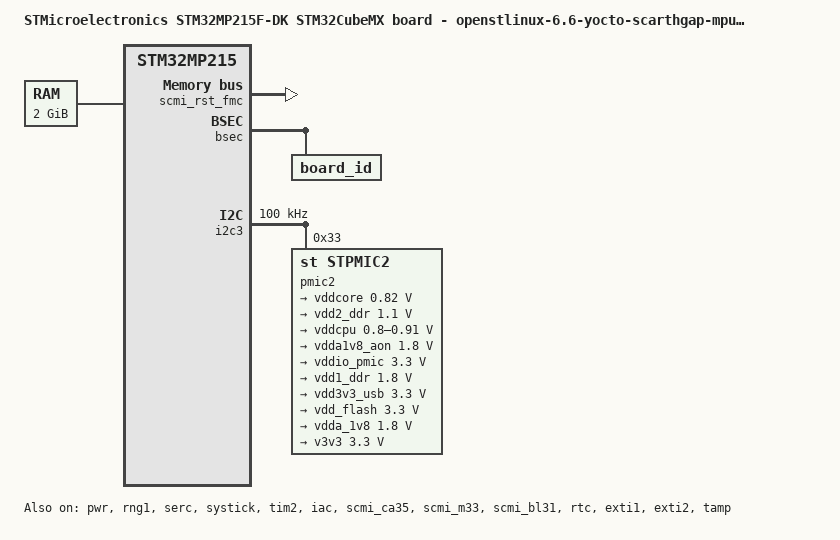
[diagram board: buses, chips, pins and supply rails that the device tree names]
/dts-v1/;
#include "dt-bindings/clock/stm32mp21-clksrc.h"
#include <dt-bindings/pinctrl/stm32-pinfunc.h>
#include "stm32mp215.dtsi"
#include "stm32mp215f-board_215f-dk_m33td-mx-rcc.dtsi"
#include "stm32mp215f-board_215f-dk_m33td-mx-resmem.dtsi"
#include "stm32mp215f-board_215f-dk_m33td-mx-rif.dtsi"

/* USER CODE BEGIN includes */
#include <dt-bindings/clock/stm32mp21-clksrc.h>
#include <dt-bindings/ipcc/stm32mp25-ipcc.h>
#include <dt-bindings/power/stm32mp25-power.h>
#include <dt-bindings/reset/st,stm32mp21-rcc.h>
#include <dt-bindings/regulator/stm32mp21-regulator.h>
/* USER CODE END includes */

/{
	model = "STMicroelectronics STM32MP215F-DK STM32CubeMX board - openstlinux-6.6-yocto-scarthgap-mpu-v25.01.03";
	compatible = "st,stm32mp215f-board_215f-dk_m33td-mx", "st,stm32mp215f-dk", "st,stm32mp215";

	/* USER CODE BEGIN root */

	stm32mp25-scmi-rst{

		scmi_rst_fmc:scmi_rst_fmc{
			compatible = "st,stm32mp25-scmi-rst";
			resets = <&rcc_reset FMC_R>;
			reset-names = "fmc";
			scmi-id = <RST_SCMI_FMC>;
		};
	};

	stm32mp25-scmi-clk{

		scmi_clk_icn_sdmmc:ck_icn_sdmmc{
			compatible = "st,stm32mp25-scmi-clk";
			clocks = <&rcc CK_ICN_SDMMC>;
			scmi-id = <CK_SCMI_ICN_SDMMC>;
		};

		scmi_clk_icn_ddr:ck_icn_ddr{
			compatible = "st,stm32mp25-scmi-clk";
			clocks = <&rcc CK_ICN_DDR>;
			scmi-id = <CK_SCMI_ICN_DDR>;
		};

		scmi_clk_icn_display:ck_icn_display{
			compatible = "st,stm32mp25-scmi-clk";
			clocks = <&rcc CK_ICN_DISPLAY>;
			scmi-id = <CK_SCMI_ICN_DISPLAY>;
		};

		scmi_clk_icn_hsl:ck_icn_hsl{
			compatible = "st,stm32mp25-scmi-clk";
			clocks = <&rcc CK_ICN_HSL>;
			scmi-id = <CK_SCMI_ICN_HSL>;
		};

		scmi_clk_icn_nic:ck_icn_nic{
			compatible = "st,stm32mp25-scmi-clk";
			clocks = <&rcc CK_ICN_NIC>;
			scmi-id = <CK_SCMI_ICN_NIC>;
		};

		scmi_clk_flexgen_07:ck_flexgen_07{
			compatible = "st,stm32mp25-scmi-clk";
			clocks = <&rcc CK_FLEXGEN_07>;
			scmi-id = <CK_SCMI_FLEXGEN_07>;
		};

		scmi_clk_flexgen_08:ck_flexgen_08{
			compatible = "st,stm32mp25-scmi-clk";
			clocks = <&rcc CK_FLEXGEN_08>;
			scmi-id = <CK_SCMI_FLEXGEN_08>;
		};

		scmi_clk_flexgen_09:ck_flexgen_09{
			compatible = "st,stm32mp25-scmi-clk";
			clocks = <&rcc CK_FLEXGEN_09>;
			scmi-id = <CK_SCMI_FLEXGEN_09>;
		};

		scmi_clk_flexgen_10:ck_flexgen_10{
			compatible = "st,stm32mp25-scmi-clk";
			clocks = <&rcc CK_FLEXGEN_10>;
			scmi-id = <CK_SCMI_FLEXGEN_10>;
			rate;
		};

		scmi_clk_flexgen_11:ck_flexgen_11{
			compatible = "st,stm32mp25-scmi-clk";
			clocks = <&rcc CK_FLEXGEN_11>;
			scmi-id = <CK_SCMI_FLEXGEN_11>;
		};

		scmi_clk_flexgen_12:ck_flexgen_12{
			compatible = "st,stm32mp25-scmi-clk";
			clocks = <&rcc CK_FLEXGEN_12>;
			scmi-id = <CK_SCMI_FLEXGEN_12>;
		};

		scmi_clk_flexgen_13:ck_flexgen_13{
			compatible = "st,stm32mp25-scmi-clk";
			clocks = <&rcc CK_FLEXGEN_13>;
			scmi-id = <CK_SCMI_FLEXGEN_13>;
		};

		scmi_clk_flexgen_14:ck_flexgen_14{
			compatible = "st,stm32mp25-scmi-clk";
			clocks = <&rcc CK_FLEXGEN_14>;
			scmi-id = <CK_SCMI_FLEXGEN_14>;
		};

		scmi_clk_flexgen_15:ck_flexgen_15{
			compatible = "st,stm32mp25-scmi-clk";
			clocks = <&rcc CK_FLEXGEN_15>;
			scmi-id = <CK_SCMI_FLEXGEN_15>;
		};

		scmi_clk_flexgen_16:ck_flexgen_16{
			compatible = "st,stm32mp25-scmi-clk";
			clocks = <&rcc CK_FLEXGEN_16>;
			scmi-id = <CK_SCMI_FLEXGEN_16>;
			rate;
		};

		scmi_clk_flexgen_17:ck_flexgen_17{
			compatible = "st,stm32mp25-scmi-clk";
			clocks = <&rcc CK_FLEXGEN_17>;
			scmi-id = <CK_SCMI_FLEXGEN_17>;
		};

		scmi_clk_flexgen_18:ck_flexgen_18{
			compatible = "st,stm32mp25-scmi-clk";
			clocks = <&rcc CK_FLEXGEN_18>;
			scmi-id = <CK_SCMI_FLEXGEN_18>;
		};

		scmi_clk_flexgen_19:ck_flexgen_19{
			compatible = "st,stm32mp25-scmi-clk";
			clocks = <&rcc CK_FLEXGEN_19>;
			scmi-id = <CK_SCMI_FLEXGEN_19>;
		};

		scmi_clk_flexgen_20:ck_flexgen_20{
			compatible = "st,stm32mp25-scmi-clk";
			clocks = <&rcc CK_FLEXGEN_20>;
			scmi-id = <CK_SCMI_FLEXGEN_20>;
		};

		scmi_clk_flexgen_21:ck_flexgen_21{
			compatible = "st,stm32mp25-scmi-clk";
			clocks = <&rcc CK_FLEXGEN_21>;
			scmi-id = <CK_SCMI_FLEXGEN_21>;
		};

		scmi_clk_flexgen_22:ck_flexgen_22{
			compatible = "st,stm32mp25-scmi-clk";
			clocks = <&rcc CK_FLEXGEN_22>;
			scmi-id = <CK_SCMI_FLEXGEN_22>;
		};

		scmi_clk_flexgen_23:ck_flexgen_23{
			compatible = "st,stm32mp25-scmi-clk";
			clocks = <&rcc CK_FLEXGEN_23>;
			scmi-id = <CK_SCMI_FLEXGEN_23>;
			rate;
		};

		scmi_clk_flexgen_24:ck_flexgen_24{
			compatible = "st,stm32mp25-scmi-clk";
			clocks = <&rcc CK_FLEXGEN_24>;
			scmi-id = <CK_SCMI_FLEXGEN_24>;
			rate;
		};

		scmi_clk_flexgen_25:ck_flexgen_25{
			compatible = "st,stm32mp25-scmi-clk";
			clocks = <&rcc CK_FLEXGEN_25>;
			scmi-id = <CK_SCMI_FLEXGEN_25>;
			rate;
		};

		scmi_clk_flexgen_26:ck_flexgen_26{
			compatible = "st,stm32mp25-scmi-clk";
			clocks = <&rcc CK_FLEXGEN_26>;
			scmi-id = <CK_SCMI_FLEXGEN_26>;
		};

		scmi_clk_flexgen_27:ck_flexgen_27{
			compatible = "st,stm32mp25-scmi-clk";
			clocks = <&rcc CK_FLEXGEN_27>;
			scmi-id = <CK_SCMI_FLEXGEN_27>;
			rate;
		};

		scmi_clk_flexgen_28:ck_flexgen_28{
			compatible = "st,stm32mp25-scmi-clk";
			clocks = <&rcc CK_FLEXGEN_28>;
			scmi-id = <CK_SCMI_FLEXGEN_28>;
		};

		scmi_clk_flexgen_29:ck_flexgen_29{
			compatible = "st,stm32mp25-scmi-clk";
			clocks = <&rcc CK_FLEXGEN_29>;
			scmi-id = <CK_SCMI_FLEXGEN_29>;
		};

		scmi_clk_flexgen_30:ck_flexgen_30{
			compatible = "st,stm32mp25-scmi-clk";
			clocks = <&rcc CK_FLEXGEN_30>;
			scmi-id = <CK_SCMI_FLEXGEN_30>;
		};

		scmi_clk_flexgen_31:ck_flexgen_31{
			compatible = "st,stm32mp25-scmi-clk";
			clocks = <&rcc CK_FLEXGEN_31>;
			scmi-id = <CK_SCMI_FLEXGEN_31>;
		};

		scmi_clk_flexgen_32:ck_flexgen_32{
			compatible = "st,stm32mp25-scmi-clk";
			clocks = <&rcc CK_FLEXGEN_32>;
			scmi-id = <CK_SCMI_FLEXGEN_32>;
		};

		scmi_clk_flexgen_33:ck_flexgen_33{
			compatible = "st,stm32mp25-scmi-clk";
			clocks = <&rcc CK_FLEXGEN_33>;
			scmi-id = <CK_SCMI_FLEXGEN_33>;
		};

		scmi_clk_flexgen_34:ck_flexgen_34{
			compatible = "st,stm32mp25-scmi-clk";
			clocks = <&rcc CK_FLEXGEN_34>;
			scmi-id = <CK_SCMI_FLEXGEN_34>;
		};

		scmi_clk_flexgen_35:ck_flexgen_35{
			compatible = "st,stm32mp25-scmi-clk";
			clocks = <&rcc CK_FLEXGEN_35>;
			scmi-id = <CK_SCMI_FLEXGEN_35>;
		};

		scmi_clk_flexgen_36:ck_flexgen_36{
			compatible = "st,stm32mp25-scmi-clk";
			clocks = <&rcc CK_FLEXGEN_36>;
			scmi-id = <CK_SCMI_FLEXGEN_36>;
		};

		scmi_clk_flexgen_37:ck_flexgen_37{
			compatible = "st,stm32mp25-scmi-clk";
			clocks = <&rcc CK_FLEXGEN_37>;
			scmi-id = <CK_SCMI_FLEXGEN_37>;
		};

		scmi_clk_flexgen_38:ck_flexgen_38{
			compatible = "st,stm32mp25-scmi-clk";
			clocks = <&rcc CK_FLEXGEN_38>;
			scmi-id = <CK_SCMI_FLEXGEN_38>;
		};

		scmi_clk_flexgen_39:ck_flexgen_39{
			compatible = "st,stm32mp25-scmi-clk";
			clocks = <&rcc CK_FLEXGEN_39>;
			scmi-id = <CK_SCMI_FLEXGEN_39>;
		};

		scmi_clk_flexgen_40:ck_flexgen_40{
			compatible = "st,stm32mp25-scmi-clk";
			clocks = <&rcc CK_FLEXGEN_40>;
			scmi-id = <CK_SCMI_FLEXGEN_40>;
		};

		scmi_clk_flexgen_41:ck_flexgen_41{
			compatible = "st,stm32mp25-scmi-clk";
			clocks = <&rcc CK_FLEXGEN_41>;
			scmi-id = <CK_SCMI_FLEXGEN_41>;
		};

		scmi_clk_flexgen_42:ck_flexgen_42{
			compatible = "st,stm32mp25-scmi-clk";
			clocks = <&rcc CK_FLEXGEN_42>;
			scmi-id = <CK_SCMI_FLEXGEN_42>;
		};

		scmi_clk_flexgen_43:ck_flexgen_43{
			compatible = "st,stm32mp25-scmi-clk";
			clocks = <&rcc CK_FLEXGEN_43>;
			scmi-id = <CK_SCMI_FLEXGEN_43>;
		};

		scmi_clk_flexgen_44:ck_flexgen_44{
			compatible = "st,stm32mp25-scmi-clk";
			clocks = <&rcc CK_FLEXGEN_44>;
			scmi-id = <CK_SCMI_FLEXGEN_44>;
		};

		scmi_clk_flexgen_45:ck_flexgen_45{
			compatible = "st,stm32mp25-scmi-clk";
			clocks = <&rcc CK_FLEXGEN_45>;
			scmi-id = <CK_SCMI_FLEXGEN_45>;
		};

		scmi_clk_flexgen_46:ck_flexgen_46{
			compatible = "st,stm32mp25-scmi-clk";
			clocks = <&rcc CK_FLEXGEN_46>;
			scmi-id = <CK_SCMI_FLEXGEN_46>;
		};

		scmi_clk_flexgen_47:ck_flexgen_47{
			compatible = "st,stm32mp25-scmi-clk";
			clocks = <&rcc CK_FLEXGEN_47>;
			scmi-id = <CK_SCMI_FLEXGEN_47>;
		};

		scmi_clk_flexgen_48:ck_flexgen_48{
			compatible = "st,stm32mp25-scmi-clk";
			clocks = <&rcc CK_FLEXGEN_48>;
			scmi-id = <CK_SCMI_FLEXGEN_48>;
		};

		scmi_clk_flexgen_49:ck_flexgen_49{
			compatible = "st,stm32mp25-scmi-clk";
			clocks = <&rcc CK_FLEXGEN_49>;
			scmi-id = <CK_SCMI_FLEXGEN_49>;
		};

		scmi_clk_flexgen_50:ck_flexgen_50{
			compatible = "st,stm32mp25-scmi-clk";
			clocks = <&rcc CK_FLEXGEN_50>;
			scmi-id = <CK_SCMI_FLEXGEN_50>;
		};

		scmi_clk_flexgen_51:ck_flexgen_51{
			compatible = "st,stm32mp25-scmi-clk";
			clocks = <&rcc CK_FLEXGEN_51>;
			scmi-id = <CK_SCMI_FLEXGEN_51>;
		};

		scmi_clk_flexgen_52:ck_flexgen_52{
			compatible = "st,stm32mp25-scmi-clk";
			clocks = <&rcc CK_FLEXGEN_52>;
			scmi-id = <CK_SCMI_FLEXGEN_52>;
		};

		scmi_clk_flexgen_53:ck_flexgen_53{
			compatible = "st,stm32mp25-scmi-clk";
			clocks = <&rcc CK_FLEXGEN_53>;
			scmi-id = <CK_SCMI_FLEXGEN_53>;
		};

		scmi_clk_flexgen_54:ck_flexgen_54{
			compatible = "st,stm32mp25-scmi-clk";
			clocks = <&rcc CK_FLEXGEN_54>;
			scmi-id = <CK_SCMI_FLEXGEN_54>;
		};

		scmi_clk_flexgen_55:ck_flexgen_55{
			compatible = "st,stm32mp25-scmi-clk";
			clocks = <&rcc CK_FLEXGEN_55>;
			scmi-id = <CK_SCMI_FLEXGEN_55>;
		};

		scmi_clk_flexgen_56:ck_flexgen_56{
			compatible = "st,stm32mp25-scmi-clk";
			clocks = <&rcc CK_FLEXGEN_56>;
			scmi-id = <CK_SCMI_FLEXGEN_56>;
		};

		scmi_clk_flexgen_57:ck_flexgen_57{
			compatible = "st,stm32mp25-scmi-clk";
			clocks = <&rcc CK_FLEXGEN_57>;
			scmi-id = <CK_SCMI_FLEXGEN_57>;
		};

		scmi_clk_flexgen_58:ck_flexgen_58{
			compatible = "st,stm32mp25-scmi-clk";
			clocks = <&rcc CK_FLEXGEN_58>;
			scmi-id = <CK_SCMI_FLEXGEN_58>;
		};

		scmi_clk_flexgen_59:ck_flexgen_59{
			compatible = "st,stm32mp25-scmi-clk";
			clocks = <&rcc CK_FLEXGEN_59>;
			scmi-id = <CK_SCMI_FLEXGEN_59>;
		};

		scmi_clk_flexgen_60:ck_flexgen_60{
			compatible = "st,stm32mp25-scmi-clk";
			clocks = <&rcc CK_FLEXGEN_60>;
			scmi-id = <CK_SCMI_FLEXGEN_60>;
		};

		scmi_clk_flexgen_61:ck_flexgen_61{
			compatible = "st,stm32mp25-scmi-clk";
			clocks = <&rcc CK_FLEXGEN_61>;
			scmi-id = <CK_SCMI_FLEXGEN_61>;
		};

		scmi_clk_flexgen_62:ck_flexgen_62{
			compatible = "st,stm32mp25-scmi-clk";
			clocks = <&rcc CK_FLEXGEN_62>;
			scmi-id = <CK_SCMI_FLEXGEN_62>;
		};

		scmi_clk_flexgen_63:ck_flexgen_63{
			compatible = "st,stm32mp25-scmi-clk";
			clocks = <&rcc CK_FLEXGEN_63>;
			scmi-id = <CK_SCMI_FLEXGEN_63>;
		};

		scmi_clk_gpioa:ck_bus_gpioa{
			compatible = "st,stm32mp25-scmi-clk";
			clocks = <&rcc CK_BUS_GPIOA>;
			scmi-id = <CK_SCMI_GPIOA>;
		};

		scmi_clk_gpiob:ck_bus_gpiob{
			compatible = "st,stm32mp25-scmi-clk";
			clocks = <&rcc CK_BUS_GPIOB>;
			scmi-id = <CK_SCMI_GPIOB>;
		};

		scmi_clk_gpioc:ck_bus_gpioc{
			compatible = "st,stm32mp25-scmi-clk";
			clocks = <&rcc CK_BUS_GPIOC>;
			scmi-id = <CK_SCMI_GPIOC>;
		};

		scmi_clk_gpiod:ck_bus_gpiod{
			compatible = "st,stm32mp25-scmi-clk";
			clocks = <&rcc CK_BUS_GPIOD>;
			scmi-id = <CK_SCMI_GPIOD>;
		};

		scmi_clk_gpioe:ck_bus_gpioe{
			compatible = "st,stm32mp25-scmi-clk";
			clocks = <&rcc CK_BUS_GPIOE>;
			scmi-id = <CK_SCMI_GPIOE>;
		};

		scmi_clk_gpiof:ck_bus_gpiof{
			compatible = "st,stm32mp25-scmi-clk";
			clocks = <&rcc CK_BUS_GPIOF>;
			scmi-id = <CK_SCMI_GPIOF>;
		};

		scmi_clk_gpiog:ck_bus_gpiog{
			compatible = "st,stm32mp25-scmi-clk";
			clocks = <&rcc CK_BUS_GPIOG>;
			scmi-id = <CK_SCMI_GPIOG>;
		};

		scmi_clk_gpioh:scmi_clk_gpioh{
			compatible = "st,stm32mp25-scmi-clk";
			clocks = <&rcc CK_BUS_GPIOH>;
			scmi-id = <CK_SCMI_GPIOH>;
		};

		scmi_clk_gpioi:ck_bus_gpioi{
			compatible = "st,stm32mp25-scmi-clk";
			clocks = <&rcc CK_BUS_GPIOI>;
			scmi-id = <CK_SCMI_GPIOI>;
		};

		scmi_clk_gpioz:ck_bus_gpioz{
			compatible = "st,stm32mp25-scmi-clk";
			clocks = <&rcc CK_BUS_GPIOZ>;
			scmi-id = <CK_SCMI_GPIOZ>;
		};

		scmi_clk_icn_ls_mcu:ck_icn_ls_mcu{
			compatible = "st,stm32mp25-scmi-clk";
			clocks = <&rcc CK_ICN_LS_MCU>;
			scmi-id = <CK_SCMI_ICN_LS_MCU>;
		};

		scmi_clk_hse:hse_ck{
			compatible = "st,stm32mp25-scmi-clk";
			clocks = <&rcc HSE_CK>;
			scmi-id = <CK_SCMI_HSE>;
		};

		scmi_clk_lse:lse_ck{
			compatible = "st,stm32mp25-scmi-clk";
			clocks = <&rcc LSE_CK>;
			scmi-id = <CK_SCMI_LSE>;
		};

		scmi_clk_hsi:hsi_ck{
			compatible = "st,stm32mp25-scmi-clk";
			clocks = <&rcc HSI_CK>;
			scmi-id = <CK_SCMI_HSI>;
		};

		scmi_clk_lsi:lsi_ck{
			compatible = "st,stm32mp25-scmi-clk";
			clocks = <&rcc LSI_CK>;
			scmi-id = <CK_SCMI_LSI>;
		};

		scmi_clk_msi:msi_ck{
			compatible = "st,stm32mp25-scmi-clk";
			clocks = <&rcc MSI_CK>;
			scmi-id = <CK_SCMI_MSI>;
		};

		scmi_clk_rtcck:rtc_ck{
			compatible = "st,stm32mp25-scmi-clk";
			clocks = <&rcc RTC_CK>;
			scmi-id = <CK_SCMI_RTCCK>;
		};

		scmi_clk_icn_apb1:ck_icn_apb1{
			compatible = "st,stm32mp25-scmi-clk";
			clocks = <&rcc CK_ICN_APB1>;
			scmi-id = <CK_SCMI_ICN_APB1>;
		};

		scmi_clk_icn_apb2:ck_icn_apb2{
			compatible = "st,stm32mp25-scmi-clk";
			clocks = <&rcc CK_ICN_APB2>;
			scmi-id = <CK_SCMI_ICN_APB2>;
		};

		scmi_clk_icn_apb3:ck_icn_apb3{
			compatible = "st,stm32mp25-scmi-clk";
			clocks = <&rcc CK_ICN_APB3>;
			scmi-id = <CK_SCMI_ICN_APB3>;
		};

		scmi_clk_icn_apb4:ck_icn_apb4{
			compatible = "st,stm32mp25-scmi-clk";
			clocks = <&rcc CK_ICN_APB4>;
			scmi-id = <CK_SCMI_ICN_APB4>;
		};

		scmi_clk_icn_apb5:ck_icn_apb5{
			compatible = "st,stm32mp25-scmi-clk";
			clocks = <&rcc CK_ICN_APB5>;
			scmi-id = <CK_SCMI_ICN_APB5>;
		};

		scmi_clk_icn_apbdbg:ck_icn_apbdbg{
			compatible = "st,stm32mp25-scmi-clk";
			clocks = <&rcc CK_ICN_APBDBG>;
			scmi-id = <CK_SCMI_ICN_APBDBG>;
		};

		scmi_clk_timg1:timg1_ck{
			compatible = "st,stm32mp25-scmi-clk";
			clocks = <&rcc TIMG1_CK>;
			scmi-id = <CK_SCMI_TIMG1>;
		};

		scmi_clk_timg2:timg2_ck{
			compatible = "st,stm32mp25-scmi-clk";
			clocks = <&rcc TIMG2_CK>;
			scmi-id = <CK_SCMI_TIMG2>;
		};

		scmi_clk_bkpsram:ck_bus_bkpsram{
			compatible = "st,stm32mp25-scmi-clk";
			clocks = <&rcc CK_BUS_BKPSRAM>;
			scmi-id = <CK_SCMI_BKPSRAM>;
		};

		scmi_clk_bsec:ck_bus_bsec{
			compatible = "st,stm32mp25-scmi-clk";
			clocks = <&rcc CK_BUS_BSEC>;
			scmi-id = <CK_SCMI_BSEC>;
		};

		scmi_clk_bus_etr:ck_icn_p_etr{
			compatible = "st,stm32mp25-scmi-clk";
			clocks = <&rcc CK_BUS_ETR>;
			scmi-id = <CK_SCMI_BUS_ETR>;
		};

		scmi_clk_fmc:ck_ker_fmc{
			compatible = "st,stm32mp25-scmi-clk";
			clocks = <&rcc CK_KER_FMC>;
			scmi-id = <CK_SCMI_FMC>;
		};

		scmi_clk_hpdma1:ck_bus_hpdma1{
			compatible = "st,stm32mp25-scmi-clk";
			clocks = <&rcc CK_BUS_HPDMA1>;
			scmi-id = <CK_SCMI_HPDMA1>;
		};

		scmi_clk_hpdma2:ck_bus_hpdma2{
			compatible = "st,stm32mp25-scmi-clk";
			clocks = <&rcc CK_BUS_HPDMA2>;
			scmi-id = <CK_SCMI_HPDMA2>;
		};

		scmi_clk_hpdma3:ck_bus_hpdma3{
			compatible = "st,stm32mp25-scmi-clk";
			clocks = <&rcc CK_BUS_HPDMA3>;
			scmi-id = <CK_SCMI_HPDMA3>;
		};

		scmi_clk_ipcc1:scmi_clk_ipcc1{
			compatible = "st,stm32mp25-scmi-clk";
			clocks = <&rcc CK_BUS_IPCC1>;
			scmi-id = <CK_SCMI_IPCC1>;
		};

		scmi_clk_retram:scmi_clk_retram{
			compatible = "st,stm32mp25-scmi-clk";
			clocks = <&rcc CK_BUS_RETRAM>;
			scmi-id = <CK_SCMI_RETRAM>;
		};

		scmi_clk_rtc:scmi_clk_rtc{
			compatible = "st,stm32mp25-scmi-clk";
			clocks = <&rcc CK_BUS_RTC>;
			scmi-id = <CK_SCMI_RTC>;
		};

		scmi_clk_sram1:scmi_clk_sram1{
			compatible = "st,stm32mp25-scmi-clk";
			clocks = <&rcc CK_BUS_SRAM1>;
			scmi-id = <CK_SCMI_SRAM1>;
		};

		scmi_clk_syscpu1:scmi_clk_syscpu1{
			compatible = "st,stm32mp25-scmi-clk";
			clocks = <&rcc CK_BUS_SYSCPU1>;
			scmi-id = <CK_SCMI_SYSCPU1>;
		};

		scmi_clk_cpu1:scmi_clk_cpu1{
			compatible = "st,stm32mp25-scmi-clk";
			clocks = <&rcc CK_CPU1>;
			scmi-id = <CK_SCMI_CPU1>;
		};

		scmi_clk_hse_div2:hse_div2_ck{
			compatible = "st,stm32mp25-scmi-clk";
			clocks = <&rcc HSE_DIV2_CK>;
			scmi-id = <CK_SCMI_HSE_DIV2>;
		};

		scmi_clk_pll2:ck_pll2{
			compatible = "st,stm32mp25-scmi-clk";
			clocks = <&rcc PLL2_CK>;
			scmi-id = <CK_SCMI_PLL2>;
		};

		scmi_clk_sysram:scmi_clk_sysram{
			compatible = "st,stm32mp25-scmi-clk";
			clocks = <&rcc CK_BUS_SYSRAM>;
			scmi-id = <CK_SCMI_SYSRAM>;
		};

		scmi_clk_ospi1:scmi_clk_ospi1{
			compatible = "st,stm32mp25-scmi-clk";
			clocks = <&rcc CK_KER_OSPI1>;
			scmi-id = <CK_SCMI_OSPI1>;
		};

		scmi_clk_tpiu:scmi_clk_tpiu{
			compatible = "st,stm32mp25-scmi-clk";
			clocks = <&rcc CK_KER_TPIU>;
			scmi-id = <CK_SCMI_TPIU>;
		};

		scmi_clk_sysdbg:scmi_clk_sysdbg{
			compatible = "st,stm32mp25-scmi-clk";
			clocks = <&rcc CK_SYSDBG>;
			scmi-id = <CK_SCMI_SYSDBG>;
		};

		scmi_clk_sysatb:scmi_clk_sysatb{
			compatible = "st,stm32mp25-scmi-clk";
			clocks = <&rcc CK_BUS_SYSATB>;
			scmi-id = <CK_SCMI_SYSATB>;
		};

		scmi_clk_tsdbg:scmi_clk_tsdbg{
			compatible = "st,stm32mp25-scmi-clk";
			clocks = <&rcc CK_KER_TSDBG>;
			scmi-id = <CK_SCMI_TSDBG>;
		};

		scmi_clk_etr:scmi_clk_etr{
			compatible = "st,stm32mp25-scmi-clk";
			clocks = <&rcc CK_KER_ETR>;
			scmi-id = <CK_SCMI_KER_ETR>;
		};

		scmi_clk_bus_stm:scmi_clk_bus_stm{
			compatible = "st,stm32mp25-scmi-clk";
			clocks = <&rcc CK_BUS_STM>;
			scmi-id = <CK_SCMI_BUS_STM>;
		};

		scmi_clk_hsi_ker_ck:scmi_clk_hsi_ker_ck{
			compatible = "st,stm32mp25-scmi-clk";
			clocks = <&rcc HSI_KER_CK>;
			scmi-id = <CK_SCMI_HSI_KER_CK>;
		};

		scmi_clk_hse_ker_ck:scmi_clk_hse_ker_ck{
			compatible = "st,stm32mp25-scmi-clk";
			clocks = <&rcc HSE_KER_CK>;
			scmi-id = <CK_SCMI_HSE_KER_CK>;
		};

		scmi_clk_msi_ker_ck:scmi_clk_msi_ker_ck{
			compatible = "st,stm32mp25-scmi-clk";
			clocks = <&rcc MSI_KER_CK>;
			scmi-id = <CK_SCMI_MSI_KER_CK>;
		};
	};

	stm32mp25-scmi-regu{

		scmi_vddcpu:voltd-vddcpu{
			compatible = "st,stm32mp25-scmi-regu";
			regu = <&vddcpu>;
			scmi-id = <VOLTD_SCMI_STPMIC_BUCK3>;
		};

		scmi_vddio1:voltd-vddio1{
			compatible = "st,stm32mp25-scmi-regu";
			regu = <&vddio1>;
			scmi-id = <VOLTD_SCMI_VDDIO1>;
		};

		scmi_vddio2:voltd-vddio2{
			compatible = "st,stm32mp25-scmi-regu";
			regu = <&vddio2>;
			scmi-id = <VOLTD_SCMI_VDDIO2>;
		};

		scmi_vddio3:voltd-vddio3{
			compatible = "st,stm32mp25-scmi-regu";
			regu = <&vddio3>;
			scmi-id = <VOLTD_SCMI_VDDIO3>;
		};

		scmi_vdda18adc:voltd-vdda18adc{
			compatible = "st,stm32mp25-scmi-regu";
			regu = <&vdda18adc>;
			scmi-id = <VOLTD_SCMI_ADC>;
		};

		scmi_vddcore:voltd-vddcore{
			compatible = "st,stm32mp25-scmi-regu";
			regu = <&vddcore>;
			scmi-id = <VOLTD_SCMI_STPMIC_BUCK1>;
		};

		scmi_vdd3v3_usb:voltd-vdd3v3-usb{
			compatible = "st,stm32mp25-scmi-regu";
			regu = <&vdd3v3_usb>;
			scmi-id = <VOLTD_SCMI_STPMIC_LDO4>;
		};

		scmi_vdd_flash:voltd-vdd-flash{
			compatible = "st,stm32mp25-scmi-regu";
			regu = <&vdd_flash>;
			scmi-id = <VOLTD_SCMI_STPMIC_LDO5>;
		};

		scmi_vdda_1v8:voltd-vdda-1v8{
			compatible = "st,stm32mp25-scmi-regu";
			regu = <&vdda_1v8>;
			scmi-id = <VOLTD_SCMI_STPMIC_LDO6>;
		};

		scmi_v3v3:voltd-v3v3{
			compatible = "st,stm32mp25-scmi-regu";
			regu = <&v3v3>;
			scmi-id = <VOLTD_SCMI_STPMIC_GPO1>;
		};
	};

	aliases{
		serial0 = &uart4;
	};

	chosen{
		stdout-device = &uart4;
		tfm,entropy = &rng1;
	};
	/* USER CODE END root */

	memory@80000000{
		device_type = "memory";
		reg = <0x80000000 0x80000000>;
	};
};

&pinctrl {
	/* USER CODE BEGIN pinctrl */
	/* USER CODE END pinctrl */
};

&pinctrl_z {

	i2c3_pins_z_mx:i2c3_mx-0{

		pins{
			pinmux = <STM32_PINMUX('Z', 0, AF8)>,
					<STM32_PINMUX('Z', 1, AF8)>;
			bias-disable;
			drive-open-drain;
			slew-rate = <0>;
		};
	};
	/* USER CODE BEGIN pinctrl_z */
	/* USER CODE END pinctrl_z */
};

&bsec {
	status = "okay";

	/* USER CODE BEGIN bsec */
	memory-region = <&bsec_mirror>;

	board_id:board_id@3d8{
		#nvmem-cell-cells = <0>;
		reg = <0x3d8 0x4>;
	};
	/* USER CODE END bsec */
};

&i2c3 {
	pinctrl-names = "default";
	pinctrl-0 = <&i2c3_pins_z_mx>;
	status = "okay";

	/* USER CODE BEGIN i2c3 */
	i2c-scl-rising-time-ns = <185>;
	i2c-scl-falling-time-ns = <20>;
	clock-frequency = <100000>;
	#address-cells = <1>;
	#size-cells = <0>;

	pmic2:pmic@33{
		compatible = "st,stpmic2";
		reg = <0x33>;
		status = "okay";

		regulators{
			compatible = "st,stpmic2-regulators";

			vddcore:buck1{
				regulator-name = "vddcore";
				regulator-min-microvolt = <820000>;
				regulator-max-microvolt = <820000>;
				regulator-always-on;
			};

			vdd2_ddr:buck2{
				regulator-name = "vdd2_ddr";
				regulator-min-microvolt = <1100000>;
				regulator-max-microvolt = <1100000>;
			};

			vddcpu:buck3{
				regulator-name = "vddcpu";
				regulator-min-microvolt = <800000>;
				regulator-max-microvolt = <910000>;
				regulator-always-on;
			};

			vdda1v8_aon:ldo1{
				regulator-name = "vdda1v8_aon";
				regulator-min-microvolt = <1800000>;
				regulator-max-microvolt = <1800000>;
				regulator-always-on;
			};

			vddio_pmic:ldo2{
				regulator-name = "vddio_pmic";
				regulator-min-microvolt = <3300000>;
				regulator-max-microvolt = <3300000>;
				regulator-always-on;
			};

			vdd1_ddr:ldo3{
				regulator-name = "vdd1_ddr";
				regulator-min-microvolt = <1800000>;
				regulator-max-microvolt = <1800000>;
				regulator-enable-ramp-delay = <1000>;
			};

			vdd3v3_usb:ldo4{
				regulator-name = "vdd3v3_usb";
				regulator-min-microvolt = <3300000>;
				regulator-max-microvolt = <3300000>;
			};

			vdd_flash:ldo5{
				regulator-name = "vdd_flash";
				regulator-min-microvolt = <3300000>;
				regulator-max-microvolt = <3300000>;
			};

			vdda_1v8:ldo6{
				regulator-name = "vdda_1v8";
				regulator-min-microvolt = <1800000>;
				regulator-max-microvolt = <1800000>;
				regulator-always-on;
			};

			v3v3:gpo1{
				regulator-name = "v3v3";
				regulator-min-microvolt = <3300000>;
				regulator-max-microvolt = <3300000>;
				regulator-always-on;
			};
		};
	};
	/* USER CODE END i2c3 */
};

&ipcc1 {
	status = "okay";
};

&pwr {
	status = "okay";

	/* USER CODE BEGIN pwr */

	vdda18adc{
		status = "okay";
		regulator-min-microvolt = <1800000>;
		regulator-max-microvolt = <1800000>;
		vin-supply = <&vdda_1v8>;
	};

	vddio1{
		status = "okay";
		vin-supply = <&vddio_pmic>;
	};

	vddio2{
		status = "okay";
		vin-supply = <&vdda_1v8>;
	};

	vddio3{
		status = "okay";
		vin-supply = <&vddio_pmic>;
	};

	vddio{
		status = "okay";
		vin-supply = <&vddio_pmic>;
	};
	/* USER CODE END pwr */
};

&rcc {
	status = "okay";

	st,rcc{
		status = "okay";
	};
};

&rng1 {
	status = "okay";
};

&serc {
	status = "okay";
};

&systick {
	status = "okay";

	/* USER CODE BEGIN systick */
	clocks = <&rcc CK_ICN_HS_MCU>;
	clock-frequency = <1000000>;
	/* USER CODE END systick */
};

&tim2 {
	status = "okay";
};

&hpdma1 {
	status = "okay";
};

&hpdma2 {
	status = "okay";
};

&hpdma3 {
	status = "okay";
};

/* USER CODE BEGIN addons */

&iac {
	status = "okay";
};

&scmi_ca35 {
	status = "okay";
	memory-region = <&scmi_cid1_ns>;
	mboxes = <&ipcc1 IPCC_CHANNEL(16)>;
	regu-list = <&scmi_vddcore>, <&scmi_vdd3v3_usb>, <&scmi_vdd_flash>, <&scmi_vdda_1v8>,
			<&scmi_v3v3>, <&scmi_vddio1>, <&scmi_vddio2>, <&scmi_vddio3>, <&scmi_vdda18adc>;
	regu-id-max = <STMP21_VOLTD_SCMI_MAX>;
	rst-list = <&scmi_rst_fmc>;
	rst-id-max = <STM32MP21_RST_SCMI_MAX>;
	clk-list = <&scmi_clk_icn_sdmmc>, <&scmi_clk_icn_ddr>,
			<&scmi_clk_icn_display>, <&scmi_clk_icn_hsl>,
			<&scmi_clk_icn_nic>,
			<&scmi_clk_flexgen_07>, <&scmi_clk_flexgen_08>,
			<&scmi_clk_flexgen_09>, <&scmi_clk_flexgen_10>,
			<&scmi_clk_flexgen_11>, <&scmi_clk_flexgen_12>,
			<&scmi_clk_flexgen_13>, <&scmi_clk_flexgen_14>,
			<&scmi_clk_flexgen_15>, <&scmi_clk_flexgen_16>,
			<&scmi_clk_flexgen_17>, <&scmi_clk_flexgen_18>,
			<&scmi_clk_flexgen_19>, <&scmi_clk_flexgen_20>,
			<&scmi_clk_flexgen_21>, <&scmi_clk_flexgen_22>,
			<&scmi_clk_flexgen_23>, <&scmi_clk_flexgen_24>,
			<&scmi_clk_flexgen_25>, <&scmi_clk_flexgen_26>,
			<&scmi_clk_flexgen_27>, <&scmi_clk_flexgen_28>,
			<&scmi_clk_flexgen_29>, <&scmi_clk_flexgen_30>,
			<&scmi_clk_flexgen_31>, <&scmi_clk_flexgen_32>,
			<&scmi_clk_flexgen_33>, <&scmi_clk_flexgen_34>,
			<&scmi_clk_flexgen_35>, <&scmi_clk_flexgen_36>,
			<&scmi_clk_flexgen_37>, <&scmi_clk_flexgen_38>,
			<&scmi_clk_flexgen_39>, <&scmi_clk_flexgen_40>,
			<&scmi_clk_flexgen_41>, <&scmi_clk_flexgen_42>,
			<&scmi_clk_flexgen_43>, <&scmi_clk_flexgen_44>,
			<&scmi_clk_flexgen_45>, <&scmi_clk_flexgen_46>,
			<&scmi_clk_flexgen_47>, <&scmi_clk_flexgen_48>,
			<&scmi_clk_flexgen_49>, <&scmi_clk_flexgen_50>,
			<&scmi_clk_flexgen_51>, <&scmi_clk_flexgen_52>,
			<&scmi_clk_flexgen_53>, <&scmi_clk_flexgen_54>,
			<&scmi_clk_flexgen_55>, <&scmi_clk_flexgen_56>,
			<&scmi_clk_flexgen_57>, <&scmi_clk_flexgen_58>,
			<&scmi_clk_flexgen_59>, <&scmi_clk_flexgen_60>,
			<&scmi_clk_flexgen_61>, <&scmi_clk_flexgen_62>,
			<&scmi_clk_flexgen_63>,
			<&scmi_clk_gpioa>, <&scmi_clk_gpiob>,
			<&scmi_clk_gpioc>, <&scmi_clk_gpiod>,
			<&scmi_clk_gpioe>, <&scmi_clk_gpiof>,
			<&scmi_clk_gpiog>, <&scmi_clk_gpioh>,
			<&scmi_clk_gpioi>,
			<&scmi_clk_gpioz>,
			<&scmi_clk_icn_ls_mcu>, <&scmi_clk_hse>,
			<&scmi_clk_lse>, <&scmi_clk_hsi>, <&scmi_clk_lsi>,
			<&scmi_clk_msi>, <&scmi_clk_rtcck>,
			<&scmi_clk_icn_apb1>, <&scmi_clk_icn_apb2>,
			<&scmi_clk_icn_apb3>, <&scmi_clk_icn_apb4>, <&scmi_clk_icn_apb5>,
			<&scmi_clk_icn_apbdbg>, <&scmi_clk_timg1>,
			<&scmi_clk_timg2>, <&scmi_clk_bkpsram>,
			<&scmi_clk_bsec>, <&scmi_clk_bus_etr>,
			<&scmi_clk_fmc>, <&scmi_clk_hpdma1>,
			<&scmi_clk_hpdma2>, <&scmi_clk_hpdma3>,
			<&scmi_clk_ipcc1>,
			<&scmi_clk_retram>,
			<&scmi_clk_rtc>, <&scmi_clk_sram1>,
			<&scmi_clk_syscpu1>,
			<&scmi_clk_cpu1>, <&scmi_clk_hse_div2>,
			<&scmi_clk_pll2>,
			<&scmi_clk_sysram>, <&scmi_clk_ospi1>,
			<&scmi_clk_tpiu>,
			<&scmi_clk_sysdbg>, <&scmi_clk_sysatb>,
			<&scmi_clk_tsdbg>, <&scmi_clk_etr>,
			<&scmi_clk_bus_stm>, <&scmi_clk_hsi_ker_ck>,
			<&scmi_clk_hse_ker_ck>, <&scmi_clk_msi_ker_ck>;
	clk-id-max = <STM32MP21_CK_SCMI_MAX>;
};

&scmi_m33 {
	status = "okay";
	regu-list = <&scmi_vddcore>, <&scmi_vdd3v3_usb>, <&scmi_vdd_flash>, <&scmi_vdda_1v8>,
			<&scmi_v3v3>;
	regu-id-max = <STMP21_VOLTD_SCMI_MAX>;
	rst-list = <&scmi_rst_fmc>;
	rst-id-max = <STM32MP21_RST_SCMI_MAX>;
	clk-list = <&scmi_clk_icn_display>, <&scmi_clk_gpiob>, <&scmi_clk_flexgen_27>,
			<&scmi_clk_flexgen_07>, <&scmi_clk_flexgen_08>,
			<&scmi_clk_flexgen_09>, <&scmi_clk_flexgen_10>;
	clk-id-max = <STM32MP21_CK_SCMI_MAX>;
};

&scmi_bl31 {
	status = "okay";
	memory-region = <&scmi_cid1_s>;
	mboxes = <&ipcc1 IPCC_CHANNEL(15)>;
	regu-list = <&scmi_vddcpu>;
	regu-id-max = <(VOLTD_SCMI_STPMIC_BUCK3+1)>;
};

&psa_mbox {
	status = "okay";
	mboxes = <&ipcc1 IPCC_CHANNEL(14)>;
	memory-region = <&psa_buffer_cid1_s>;
};

&rtc {
	status = "okay";
};

&exti1 {
	status = "okay";
};

&exti2 {
	status = "okay";
};

&tamp {
	status = "okay";
};

&hconf1_otp {
	shadow-provisionning = <0x00018db6>;
};

&cpu0 {
	enable-method = "remoteproc";
	remoteprocs = <&a35_rproc>;
};
/* USER CODE END addons */
